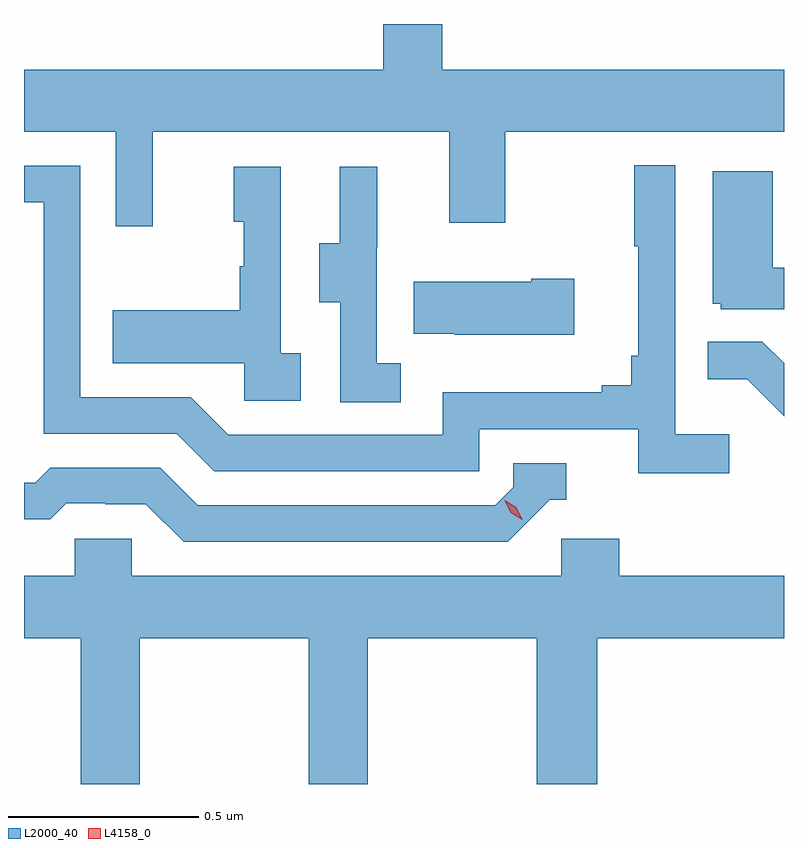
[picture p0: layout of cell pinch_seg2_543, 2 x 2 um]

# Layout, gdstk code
import gdstk
lib = gdstk.Library(unit=1e-6, precision=1e-09)
def P(c, l, *ps):  # polygons
    for p in ps: c.add(gdstk.Polygon(p, *l))
L2000_40 = (2000, 40)
L4158_0 = (4158, 0)

pinch_seg2_543 = lib.new_cell('pinch_seg2_543')
P(pinch_seg2_543, L2000_40, [(1121.579,614.336),(1122.359,614.336),(1122.359,614.097),(1122.507,614.097),(1122.507,614.336),(1123.24,614.336),(1123.24,614.5),(1122.341,614.5),(1122.341,614.62),(1122.185,614.62),(1122.185,614.5),(1121.24,614.5),(1121.24,614.336),(1121.481,614.336),(1121.481,614.088),(1121.579,614.088)],
  [(1123.096,613.54),(1122.954,613.54),(1122.954,614.248),(1122.846,614.248),(1122.846,614.035),(1122.857,614.035),(1122.857,613.747),(1122.838,613.747),(1122.838,613.67),(1122.761,613.67),(1122.761,613.651),(1122.342,613.651),(1122.342,613.539),(1121.778,613.539),(1121.679,613.638),(1121.388,613.638),(1121.388,614.247),(1121.24,614.247),(1121.24,614.151),(1121.292,614.151),(1121.292,613.542),(1121.642,613.542),(1121.741,613.443),(1122.438,613.443),(1122.438,613.554),(1122.857,613.554),(1122.857,613.438),(1123.096,613.438)],
  [(1122.232,613.727),(1122.168,613.727),(1122.168,614.031),(1122.17,614.031),(1122.17,614.245),(1122.071,614.245),(1122.071,614.043),(1122.017,614.043),(1122.017,613.888),(1122.072,613.888),(1122.072,613.624),(1122.232,613.624)],
  [(1121.968,613.754),(1121.916,613.754),(1121.916,614.245),(1121.792,614.245),(1121.792,614.1),(1121.818,614.1),(1121.818,613.982),(1121.808,613.982),(1121.808,613.867),(1121.473,613.867),(1121.473,613.727),(1121.82,613.727),(1121.82,613.629),(1121.968,613.629)],
  [(1123.24,613.978),(1123.21,613.978),(1123.21,614.233),(1123.052,614.233),(1123.052,613.884),(1123.074,613.884),(1123.074,613.869),(1123.24,613.869)],
  [(1122.688,613.95),(1122.575,613.95),(1122.575,613.942),(1122.265,613.942),(1122.265,613.805),(1122.373,613.805),(1122.373,613.802),(1122.688,613.802)],
  [(1123.24,613.727),(1123.183,613.784),(1123.039,613.784),(1123.039,613.685),(1123.143,613.685),(1123.24,613.588)],
  [(1122.624,613.368),(1122.667,613.368),(1122.667,613.464),(1122.528,613.464),(1122.528,613.401),(1122.48,613.353),(1121.697,613.353),(1121.598,613.452),(1121.309,613.452),(1121.27,613.413),(1121.24,613.413),(1121.24,613.317),(1121.309,613.317),(1121.351,613.359),(1121.454,613.359),(1121.454,613.356),(1121.561,613.356),(1121.66,613.257),(1122.513,613.257)],
  [(1121.544,613.004),(1121.989,613.004),(1121.989,612.62),(1122.144,612.62),(1122.144,613.004),(1122.589,613.004),(1122.589,612.62),(1122.749,612.62),(1122.749,613.004),(1123.24,613.004),(1123.24,613.168),(1122.806,613.168),(1122.806,613.266),(1122.654,613.266),(1122.654,613.168),(1121.523,613.168),(1121.523,613.266),(1121.373,613.266),(1121.373,613.168),(1121.24,613.168),(1121.24,613.004),(1121.389,613.004),(1121.389,612.62),(1121.544,612.62)])
P(pinch_seg2_543, L4158_0, [(1122.551,613.315),(1122.521,613.334),(1122.505,613.367),(1122.505,613.367),(1122.505,613.367),(1122.535,613.348),(1122.551,613.315),(1122.551,613.315)])

lib.write_gds('pinch_seg2_543.gds')
